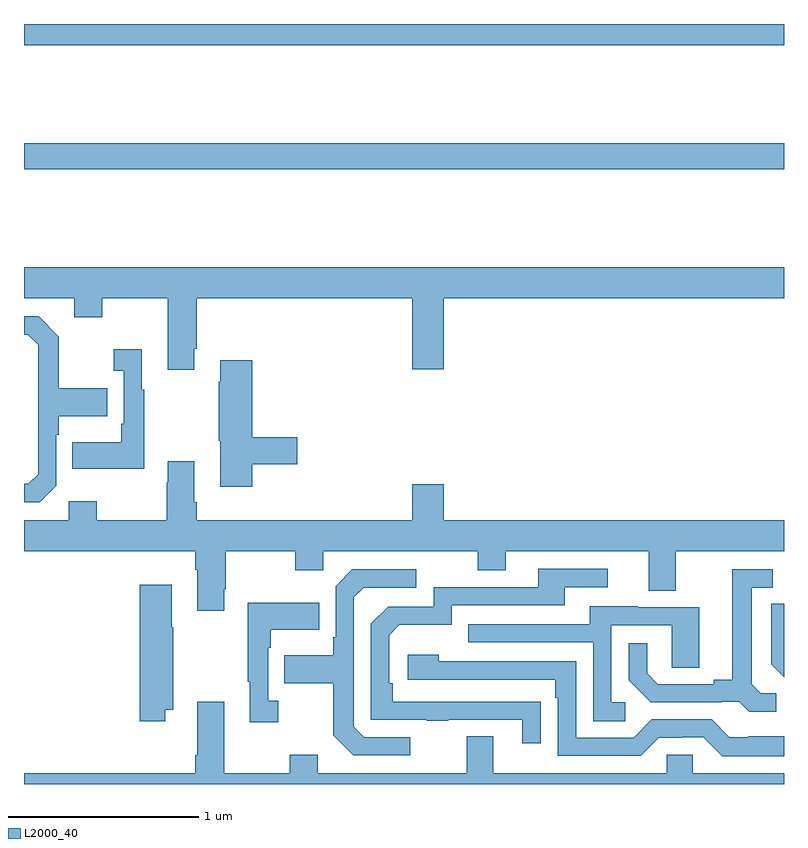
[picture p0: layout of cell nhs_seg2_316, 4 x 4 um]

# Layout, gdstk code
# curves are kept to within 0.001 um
import gdstk
lib = gdstk.Library(unit=1e-6, precision=1e-09)
def R(c, l, rs):  # rectangles x0, y0, x1, y1
    for r in rs: c.add(gdstk.rectangle(r[:2], r[2:], *l))
def P(c, l, *ps):  # polygons
    for p in ps: c.add(gdstk.Polygon(p, *l))
L2000_40 = (2000, 40)

nhs_seg2_316 = lib.new_cell('nhs_seg2_316')
R(nhs_seg2_316, L2000_40, [(127,595.036,131,595.172), (127,595.688,131,595.8)])
P(nhs_seg2_316, L2000_40, [(127.897,594.091),(127.91,594.091),(127.91,594.356),(129.044,594.356),(129.044,593.982),(129.208,593.982),(129.208,594.356),(131,594.356),(131,594.52),(127,594.52),(127,594.356),(127.265,594.356),(127.265,594.257),(127.413,594.257),(127.413,594.356),(127.757,594.356),(127.757,593.979),(127.897,593.979)],
  [(127.17,593.37),(127.17,593.639),(127.183,593.639),(127.183,593.735),(127.439,593.735),(127.439,593.883),(127.183,593.883),(127.183,594.155),(127.077,594.261),(127,594.261),(127,594.165),(127.02,594.165),(127.074,594.111),(127.074,593.43),(127.023,593.379),(127,593.379),(127,593.283),(127.083,593.283)],
  [(127.633,593.875),(127.621,593.875),(127.621,594.088),(127.473,594.088),(127.473,593.975),(127.524,593.975),(127.524,593.695),(127.512,593.695),(127.512,593.599),(127.255,593.599),(127.255,593.459),(127.633,593.459)],
  [(128.201,593.482),(128.437,593.482),(128.437,593.624),(128.201,593.624),(128.201,594.031),(128.033,594.031),(128.033,593.918),(128.026,593.918),(128.026,593.607),(128.033,593.607),(128.033,593.364),(128.201,593.364)],
  [(128.053,592.825),(128.061,592.825),(128.061,593.024),(128.428,593.024),(128.428,592.925),(128.574,592.925),(128.574,593.024),(129.388,593.024),(129.388,592.925),(129.535,592.925),(129.535,593.024),(130.289,593.024),(130.289,592.816),(130.429,592.816),(130.429,593.024),(131,593.024),(131,593.188),(129.208,593.188),(129.208,593.377),(129.044,593.377),(129.044,593.188),(127.91,593.188),(127.91,593.284),(127.897,593.284),(127.897,593.5),(127.757,593.5),(127.757,593.387),(127.75,593.387),(127.75,593.188),(127.383,593.188),(127.383,593.287),(127.236,593.287),(127.236,593.188),(127,593.188),(127,593.024),(127.901,593.024),(127.901,592.928),(127.913,592.928),(127.913,592.713),(128.053,592.713)],
  [(129.719,592.232),(128.942,592.233),(128.942,592.33),(128.922,592.33),(128.922,592.584),(128.975,592.637),(129.252,592.637),(129.252,592.74),(129.847,592.74),(129.847,592.836),(130.072,592.836),(130.072,592.932),(129.707,592.932),(129.707,592.836),(129.156,592.836),(129.156,592.734),(128.916,592.734),(128.826,592.644),(128.826,592.137),(129.121,592.137),(129.121,592.132),(129.233,592.132),(129.233,592.137),(129.623,592.137),(129.623,592.014),(129.719,592.014)],
  [(129.034,592.047),(128.79,592.047),(128.736,592.101),(128.736,592.782),(128.787,592.833),(129.064,592.833),(129.064,592.929),(128.727,592.929),(128.64,592.842),(128.64,592.573),(128.628,592.573),(128.628,592.477),(128.371,592.477),(128.371,592.33),(128.628,592.33),(128.628,592.057),(128.733,591.951),(129.034,591.951)],
  [(130.96,592.278),(130.878,592.278),(130.831,592.325),(130.831,592.833),(130.942,592.833),(130.942,592.929),(130.727,592.929),(130.727,592.349),(130.631,592.349),(130.631,592.326),(130.336,592.326),(130.279,592.383),(130.279,592.54),(130.182,592.54),(130.182,592.346),(130.298,592.23),(130.67,592.23),(130.67,592.233),(130.764,592.233),(130.816,592.181),(130.96,592.181)],
  [(127.744,592.19),(127.785,592.19),(127.785,592.625),(127.777,592.625),(127.777,592.849),(127.61,592.849),(127.61,592.131),(127.744,592.131)],
  [(128.338,592.238),(128.286,592.238),(128.286,592.517),(128.299,592.517),(128.299,592.613),(128.555,592.613),(128.555,592.753),(128.178,592.753),(128.178,592.337),(128.189,592.337),(128.189,592.125),(128.338,592.125)],
  [(131,592.748),(130.932,592.748),(130.932,592.43),(131,592.362)],
  [(130.165,592.23),(130.092,592.23),(130.092,592.635),(130.41,592.635),(130.41,592.411),(130.555,592.411),(130.555,592.731),(130.231,592.731),(130.231,592.735),(129.977,592.735),(129.977,592.641),(129.337,592.641),(129.337,592.545),(129.996,592.545),(129.996,592.129),(130.165,592.129)],
  [(131,592.051),(130.813,592.051),(130.813,592.047),(130.713,592.047),(130.62,592.14),(130.305,592.14),(130.209,592.044),(129.906,592.044),(129.906,592.446),(129.182,592.446),(129.182,592.48),(129.021,592.48),(129.021,592.35),(129.797,592.35),(129.797,592.253),(129.81,592.253),(129.81,591.948),(130.245,591.948),(130.341,592.044),(130.46,592.044),(130.46,592.047),(130.575,592.047),(130.675,591.947),(131,591.947)],
  [(131,591.856),(130.521,591.856),(130.521,591.954),(130.383,591.954),(130.383,591.856),(129.469,591.856),(129.469,592.051),(129.329,592.051),(129.329,591.856),(128.545,591.856),(128.545,591.955),(128.398,591.955),(128.398,591.856),(128.053,591.856),(128.053,592.234),(127.913,592.234),(127.913,591.952),(127.901,591.952),(127.901,591.856),(127,591.856),(127,591.8),(131,591.8)])

lib.write_gds('nhs_seg2_316.gds')
